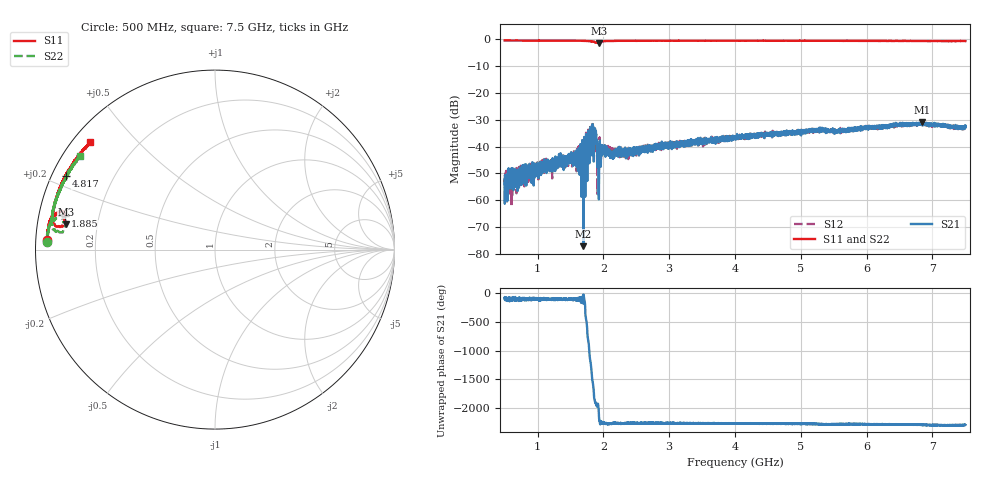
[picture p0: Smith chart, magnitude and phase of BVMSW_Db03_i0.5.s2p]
!Keysight Technologies,M9374A,MY55442783,A.12.55.05
!Date: Friday, May 21, 2021 10:38:20
!Correction: S11(Full 2 Port(1,2))
!S21(Full 2 Port(1,2))
!S12(Full 2 Port(1,2))
!S22(Full 2 Port(1,2))
!S2P File: Measurements: S11, S21, S12, S22:
# Hz S  RI  R 50
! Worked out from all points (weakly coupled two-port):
!   7001 points, 500 MHz to 7.5 GHz, reference 50 ohm
!   highest |S21| = -31.03 dB at 6.84 GHz (marker M1); lowest = -77.1 dB at 1.696 GHz (marker M2)
!   lowest |S11| = -1.5 dB at 1.929 GHz (marker M3), VSWR 11.59, Z = 4.34 + j4.19 ohm
!   |S11| at or under -10 dB: nowhere
!   |S22| runs from -1.5 to -0.5 dB; largest |S21 - S12| = 0.01
!   S11 on the Smith chart (normalised r, x): 500 MHz: 0.03, +0.03; 1.885 GHz: 0.08, +0.11; 4.817 GHz: 0.04, +0.23; 7.5 GHz: 0.05, +0.37
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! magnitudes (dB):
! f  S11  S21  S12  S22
! 500 MHz  -0.5  -52.2  -52.3  -0.6
! 574 MHz  -0.6  -52.0  -56.8  -0.6
! 1.36 GHz  -0.6  -46.0  -43.4  -0.6
! 1.657 GHz  -0.6  -39.1  -39.1  -0.6
! 1.667 GHz  -0.7  -51.9  -50.6  -0.7
! 1.685 GHz  -0.7  -38.1  -38.3  -0.7
! 1.696 GHz  -0.7  -77.1  -70.9  -0.7
! 1.711 GHz  -0.7  -36.7  -36.7  -0.7
! 1.81 GHz  -0.9  -34.5  -33.5  -0.9
! 1.862 GHz  -1.0  -38.0  -39.0  -1.0
! 1.885 GHz  -1.3  -34.5  -38.2  -1.3
! 1.929 GHz  -1.5  -48.1  -56.7  -1.5
! 2.005 GHz  -0.8  -41.2  -41.2  -0.8
! 2.131 GHz  -0.7  -42.6  -40.6  -0.7
! 2.332 GHz  -0.7  -42.3  -43.0  -0.7
! 2.834 GHz  -0.6  -39.9  -41.3  -0.6
! 4 GHz  -0.6  -36.5  -36.2  -0.7
! 4.817 GHz  -0.7  -34.6  -35.0  -0.7
! 5.167 GHz  -0.7  -34.4  -33.6  -0.7
! 6.334 GHz  -0.7  -32.4  -32.5  -0.7
! 6.84 GHz  -0.7  -31.0  -31.9  -0.8
! 7.5 GHz  -0.7  -32.3  -33.2  -0.8
